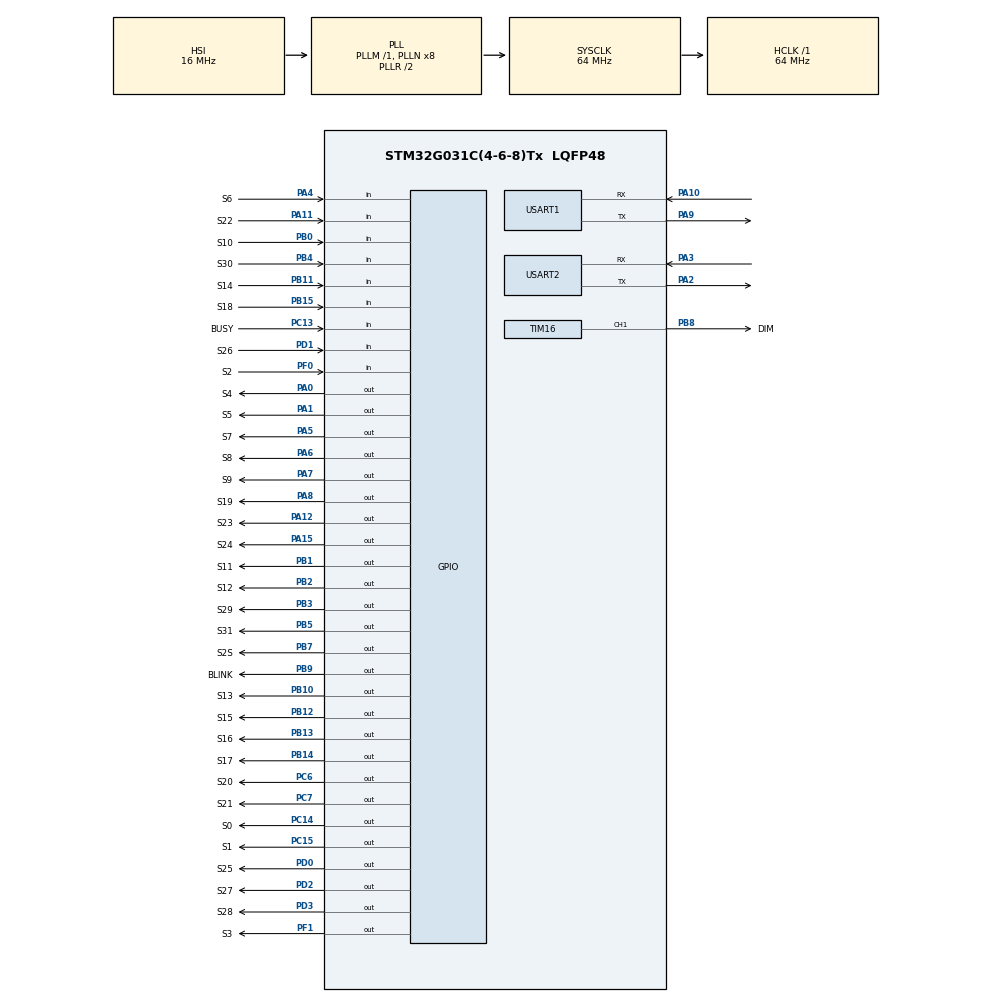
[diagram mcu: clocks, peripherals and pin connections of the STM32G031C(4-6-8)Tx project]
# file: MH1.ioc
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Mcu.Family=STM32G0
Mcu.Name=STM32G031C(4-6-8)Tx
Mcu.Package=LQFP48
NVIC.TIM3_IRQn=true\:0\:0\:false\:false\:true\:true\:true\:true
NVIC.USART1_IRQn=true\:0\:0\:false\:false\:true\:true\:true\:true
NVIC.USART2_IRQn=true\:0\:0\:false\:false\:true\:true\:true\:true
PA0.GPIO_Label=S4
PA0.PinState=GPIO_PIN_SET
PA0.Signal=GPIO_Output
PA1.GPIO_Label=S5
PA1.Signal=GPIO_Output
PA10.Mode=Asynchronous
PA10.Signal=USART1_RX
PA11\ [PA9].GPIO_Label=S22
PA11\ [PA9].GPIO_PuPd=GPIO_PULLUP
PA11\ [PA9].Signal=GPIO_Input
PA12\ [PA10].GPIO_Label=S23
PA12\ [PA10].Signal=GPIO_Output
PA15.GPIO_Label=S24
PA15.PinState=GPIO_PIN_SET
PA15.Signal=GPIO_Output
PA2.Mode=Asynchronous
PA2.Signal=USART2_TX
PA3.GPIO_PuPd=GPIO_PULLUP
PA3.Mode=Asynchronous
PA3.Signal=USART2_RX
PA4.GPIO_Label=S6
PA4.GPIO_PuPd=GPIO_PULLUP
PA4.Signal=GPIO_Input
PA5.GPIO_Label=S7
PA5.Signal=GPIO_Output
PA6.GPIO_Label=S8
PA6.PinState=GPIO_PIN_SET
PA6.Signal=GPIO_Output
PA7.GPIO_Label=S9
PA7.Signal=GPIO_Output
PA8.GPIO_Label=S19
PA8.Signal=GPIO_Output
PA9.Mode=Asynchronous
PA9.Signal=USART1_TX
PB0.GPIO_Label=S10
PB0.GPIO_PuPd=GPIO_PULLUP
PB0.Signal=GPIO_Input
PB1.GPIO_Label=S11
PB1.Signal=GPIO_Output
PB10.GPIO_Label=S13
PB10.Signal=GPIO_Output
PB11.GPIO_Label=S14
PB11.GPIO_PuPd=GPIO_PULLUP
PB11.Signal=GPIO_Input
PB12.GPIO_Label=S15
PB12.Signal=GPIO_Output
PB13.GPIO_Label=S16
PB13.PinState=GPIO_PIN_SET
PB13.Signal=GPIO_Output
PB14.GPIO_Label=S17
PB14.Signal=GPIO_Output
PB15.GPIO_Label=S18
PB15.GPIO_PuPd=GPIO_PULLUP
PB15.Signal=GPIO_Input
PB2.GPIO_Label=S12
PB2.PinState=GPIO_PIN_SET
PB2.Signal=GPIO_Output
PB3.GPIO_Label=S29
PB3.Signal=GPIO_Output
PB4.GPIO_Label=S30
PB4.GPIO_PuPd=GPIO_PULLUP
PB4.Signal=GPIO_Input
PB5.GPIO_Label=S31
PB5.Signal=GPIO_Output
PB7.GPIO_Label=S2S
PB7.PinState=GPIO_PIN_SET
PB7.Signal=GPIO_Output
PB8.GPIO_Label=DIM
PB8.Signal=S_TIM16_CH1
PB9.GPIO_Label=BLINK
PB9.PinState=GPIO_PIN_SET
PB9.Signal=GPIO_Output
PC13.GPIO_Label=BUSY
PC13.GPIO_PuPd=GPIO_PULLUP
PC13.Signal=GPIO_Input
PC14-OSC32_IN\ (PC14).GPIO_Label=S0
PC14-OSC32_IN\ (PC14).PinState=GPIO_PIN_SET
PC14-OSC32_IN\ (PC14).Signal=GPIO_Output
PC15-OSC32_OUT\ (PC15).GPIO_Label=S1
PC15-OSC32_OUT\ (PC15).Signal=GPIO_Output
PC6.GPIO_Label=S20
PC6.PinState=GPIO_PIN_SET
PC6.Signal=GPIO_Output
PC7.GPIO_Label=S21
PC7.Signal=GPIO_Output
PD0.GPIO_Label=S25
PD0.Signal=GPIO_Output
PD1.GPIO_Label=S26
PD1.GPIO_PuPd=GPIO_PULLUP
PD1.Signal=GPIO_Input
PD2.GPIO_Label=S27
PD2.Signal=GPIO_Output
PD3.GPIO_Label=S28
PD3.PinState=GPIO_PIN_SET
PD3.Signal=GPIO_Output
PF0-OSC_IN\ (PF0).GPIO_Label=S2
PF0-OSC_IN\ (PF0).GPIO_PuPd=GPIO_PULLUP
PF0-OSC_IN\ (PF0).Signal=GPIO_Input
PF1-OSC_OUT\ (PF1).GPIO_Label=S3
PF1-OSC_OUT\ (PF1).Signal=GPIO_Output
ProjectManager.HeapSize=0x200
ProjectManager.StackSize=0x400
ProjectManager.TargetToolchain=STM32CubeIDE
RCC.ADCFreq_Value=64000000
RCC.AHBFreq_Value=64000000
RCC.CortexFreq_Value=64000000
RCC.EXTERNAL_CLOCK_VALUE=12288000
RCC.HCLKFreq_Value=64000000
RCC.HSE_VALUE=8000000
RCC.HSI_VALUE=16000000
RCC.LSE_VALUE=32768
RCC.SYSCLKFreq_VALUE=64000000
RCC.SYSCLKSource=RCC_SYSCLKSOURCE_PLLCLK
RCC.VCOOutputFreq_Value=128000000
SH.S_TIM16_CH1.0=TIM16_CH1,PWM Generation1 CH1
TIM16.AutoReloadPreload=TIM_AUTORELOAD_PRELOAD_ENABLE
TIM16.Channel=TIM_CHANNEL_1
TIM16.OC1Preload_PWM=ENABLE
TIM16.Period=2560
TIM16.Pulse=25
TIM3.AutoReloadPreload=TIM_AUTORELOAD_PRELOAD_ENABLE
TIM3.ClockDivision=TIM_CLOCKDIVISION_DIV1
TIM3.Prescaler=61
USART1.FIFOMode=FIFOMODE_ENABLE
USART1.Parity=PARITY_NONE
USART1.VirtualMode-Asynchronous=VM_ASYNC
USART2.Parity=PARITY_NONE
USART2.VirtualMode-Asynchronous=VM_ASYNC
USART2.WordLength=WORDLENGTH_8B
VP_TIM16_VS_ClockSourceINT.Mode=Enable_Timer
VP_TIM3_VS_ClockSourceINT.Mode=Internal
board=custom

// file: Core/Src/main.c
/* USER CODE BEGIN Header */
/**
 ******************************************************************************
 * @file           : main.c
 * @brief          : Main program body
 ******************************************************************************
 * @attention
 *
 * Copyright (c) 2021 STMicroelectronics.
 * All rights reserved.
 *
 * This software component is licensed by ST under BSD 3-Clause license,
 * the "License"; You may not use this file except in compliance with the
 * License. You may obtain a copy of the License at:
 *                        opensource.org/licenses/BSD-3-Clause
 *
 ******************************************************************************
 */

//
// PW NOTES:
// C4 LD file is used, manually upgraded memory size from 16K to 64K,
// C8 MCU used on DSP3 proto, as more memory required for CubeIDE projects.
// ".myKey" SECTION also added to LD file, for security key.
//
// MH1 code, for DSP3 architecture
/* USER CODE END Header */
#include "main.h"

TIM_HandleTypeDef htim3;
TIM_HandleTypeDef htim16;

UART_HandleTypeDef huart1;
UART_HandleTypeDef huart2;

/* USER CODE BEGIN PV */
char flashData[13] = { 0x00 };
char flashCheck[13] = { 0xff, 0x00, 0x00, 0x00, 0x00, 0x00, 0x00, 0x00, 0x00,
		0x00, 0x00, 0x00, 0x00 };
char flashString[3] = "  ";
char flashKey[13] = { 0x00, 0x92, 0xf8, 0xcf, 0x6b, 0x43, 0xe9, 0x74, 0x10,
		0xf0, 0x50, 0xb6, 0xe4 };
char blink = 0, blinkReady = 0;
char matrixFill = 0; // flag to signal complete matrix data load, stop other processes
char printHostMenu = 1; // flag to reprint host init menu
char myChar = ' ', myByte = 0; // general purpose character and byte
char myRXstring[100] = { 0 }; // general purpose RX string
char myTXstring[100] = { 0 }; // general purpose TX string
char myVstring[100] = { 0 }; // general purpose V string for verification

char debugFlag = 0;
char hostMessage[100] = { 0 }; // buffer for host string messages
char hostMessageReady = 0; // host message ready flag
char hostMessageRequested = 0; // host message has been requested from M
char sMessage[100] = { 0 }; // buffer for S mcu string messages
char sMessageReady = 0; // S message ready flag
//char hFound = 0;
char myHString[5];
char sPresent = 0; // slave device is present and responsive
char eor = 0; // generic end of record flag
char flashUpdateError = 0; // mcu flash update error flag
char myHS = 0x00; // HS address
char myHSerased = 0x00; // HS address of last erased device, used to prevent erasing large memory devices more than once
char x_add[2] = { 0 }; // flash extended address, msb, lsb
char rat = 16; // PANEL_DIM level index 0 (brightest) .. 31 (dimmest); 16 = 204/2561 = 8.0 %
unsigned char serData;
volatile unsigned char serPtr;
int myH;
int myMcuPtr;
int i; // general purpose index
int error = 0; // generic error flag
// PANEL_DIM duty table, TIM16 period 2560: index 0 = 100 %, 31 = 0.74 % (the rev B-era DimSet table)
const int DIM[] = {
	2560, 2185, 1865, 1593, 1360, 1161, 991, 847,
	723,  617,  527,  450,  384,  328,  280, 239,
	204,  174,  149,  127,  108,   93,   79,  68,
	 58,   49,   42,   36,   31,   26,   22,   19
};
#define DIM_LEVELS ((int)(sizeof(DIM) / sizeof(DIM[0])))

/*
 const char __attribute__((section (".myKey"))) flashSerial[13] = { 0xaa, 0xff,
 0xff, 0xff, 0xff, 0xff, 0xff, 0xff, 0xff, 0xff, 0xff, 0xff, 0xff };
 */

const char HEX[] = { '0', '1', '2', '3', '4', '5', '6', '7', '8', '9', 'a', 'b',
		'c', 'd', 'e', 'f' };
// addresses of all S mcu in system
const char mcuList[] = { 0x11, 0x12, 0x13, 0x14, 0x15, 0x16, 0x17, 0x18 };
// list of all system PCBs by number and description,
// note this causes compiler suspicion when declared const
/*
 const char *pcbName[] = { "M&W D24 DSP4     MCU",
 "M&W D24 DSP4     LOGIC",
 "M&W D24 SW RIGHT MCU",
 "M&W D24 SW LEFT  MCU",
 "Spare            MCU",
 "Spare            MCU",
 "Spare            MCU",
 "Spare            MCU",};
 */
const char *pcbName[] = { "PCB1: MW D24 DSP4         MCU H",
		"PCB1: MW D24 DSP4 LOGIC   MCU H", "PCB2: MW D24 SW RIGHT     MCU H",
		"PCB3: MW D24 SW LEFT      MCU H", "PCB0: Spare               MCU H",
		"PCB0: Spare               MCU H", "PCB0: Spare               MCU H",
		"PCB0: Spare               MCU H", };
const char NIBBLE[128] = { // for fast conversion of ascii to hex
		0x00, 0x00, 0x00, 0x00, 0x00, 0x00, 0x00, 0x00, 0x00, 0x00, 0x00, 0x00,
				0x00, 0x00, 0x00, 0x00, 0x00, 0x00, 0x00, 0x00, 0x00, 0x00,
				0x00, 0x00, 0x00, 0x00, 0x00, 0x00, 0x00, 0x00, 0x00, 0x00,
				0x00, 0x00, 0x00, 0x00, 0x00, 0x00, 0x00, 0x00, 0x00, 0x00,
				0x00, 0x00, 0x00, 0x00, 0x00, 0x00, 0x00, 0x01, 0x02, 0x03,
				0x04, 0x05, 0x06, 0x07, 0x08, 0x09, 0x00, 0x00, 0x00, 0x00,
				0x00, 0x00, 0x00, 0x0a, 0x0b, 0x0c, 0x0d, 0x0e, 0x0f, 0x00,
				0x00, 0x00, 0x00, 0x00, 0x00, 0x00, 0x00, 0x00, 0x00, 0x00,
				0x00, 0x00, 0x00, 0x00, 0x00, 0x00, 0x00, 0x00, 0x00, 0x00,
				0x00, 0x00, 0x00, 0x00, 0x00, 0x0a, 0x0b, 0x0c, 0x0d, 0x0e,
				0x0f, 0x00, 0x00, 0x00, 0x00, 0x00, 0x00, 0x00, 0x00, 0x00,
				0x00, 0x00, 0x00, 0x00, 0x00, 0x00, 0x00, 0x00, 0x00, 0x00,
				0x00, 0x00, 0x00, 0x00, 0x00, 0x00 };

/* USER CODE END PV */

void SystemClock_Config(void);
static void MX_GPIO_Init(void);
static void MX_TIM16_Init(void);
static void MX_USART1_UART_Init(void);
static void MX_USART2_UART_Init(void);
static void MX_TIM3_Init(void);
/* USER CODE BEGIN PFP */
void SB1(void);
void SB2(void);
void SB3(void);
void SB4(void);
void SB5(void);
void SB6(void);
void SB7(void);
void SB8(void);

void UART1_Write_Text(char *text);
void UART1_Write(char textChar);
char UART1_Read(void);
char UART2_Read(void);

void TxS(char myChar);
void TxSmessage(void);
void TxHostMessage(void);
void TxString(char numBytes);

void ResetAllSlaves(void);
void Delay_ms(int ms);
int WaitForSlaveAck(unsigned long timeoutFlag);
void EraseFlash(void);

void Debug(void);
/* USER CODE END PFP */

/* USER CODE BEGIN 0 */
// VECTOR
void (*S_Boot[])(void) = {
	SB1, SB2, SB3, SB4, SB5, SB6, SB7, SB8 };

void GetUID(void) {
	//unsigned long *temp = 0x1fff7a10; // for STM32F401RE
	//unsigned long *temp = 0x1ffff7ac; // for STM32F030R8
	long unsigned int *temp = (long unsigned int*)0x1fff7590UL; // for STM32G031C4T6
	flashData[1] = temp[0] & 0xff;
	flashData[2] = temp[0] >> 8 & 0xff;
	flashData[3] = temp[0] >> 16 & 0xff;
	flashData[4] = temp[0] >> 24 & 0xff;
	flashData[5] = temp[1] & 0xff;
	flashData[6] = temp[1] >> 8 & 0xff;
	flashData[7] = temp[1] >> 16 & 0xff;
	flashData[8] = temp[1] >> 24 & 0xff;
	flashData[9] = temp[2] & 0xff;
	flashData[10] = temp[2] >> 8 & 0xff;
	flashData[11] = temp[2] >> 16 & 0xff;
	flashData[12] = temp[2] >> 24 & 0xff;
}

//void Encrypt(void) {for (i = 1; i < sizeof flashSerial; i++) {flashSerial[i] =  flashData[i] ^ 85 ^ flashKey[i] ^ flashSerial[i - 1];}} // untested
/*
 void Decrypt(void) {
 int i;
 for (i = 1; i < sizeof flashCheck; i++) {
 flashCheck[i] = flashSerial[i] ^ flashSerial[i - 1] ^ flashKey[i] ^ 85;
 }
 }
 */
void SerialCheck(void) {
	int i;
	for (i = 1; i < sizeof flashData; i++) {
		if (flashData[i] != flashCheck[i]) {
			while (1) {
			}
		}
	}
}

void Blink(void) {
	if (blinkReady) {
		if (blink == 0x4) { // blink LEDs on
							//Led0Green();
			HAL_GPIO_WritePin(GPIOB, BLINK_Pin, GPIO_PIN_SET);
			UART1_Write(S_BLINK_ON);
			UART1_Write(0x0a);
			TxS(S_BLINK_ON);
			TxS(0x0a);
		} else if (blink == 0x0) { // blink LEDs off
								   //Led0Off();
			HAL_GPIO_WritePin(GPIOB, BLINK_Pin, GPIO_PIN_RESET);
			UART1_Write(S_BLINK_OFF);
			UART1_Write(0x0a);
			TxS(S_BLINK_OFF);
			TxS(0x0a);
		} else { // send 100mS tick for bargraph ballistics etc.
				 //UART1_Write(S_TICK); UART1_Write(0x0a);
				 //TxS(S_TICK); //TxS(0x0a);
		}
		blinkReady = 0;
	}
}

void UART1_Write_Text(char *textString) {
	int i = 0;
	char hex[4] = { 0 };
	while (textString[i] != 0)
		i++;
	HAL_UART_Transmit(&huart1, textString, i, 1000);
}

void UART1_Write(char textChar) {
	char textString[1];
	textString[0] = textChar;
	HAL_UART_Transmit(&huart1, textString, 1, 1000);
}

char UART1_Read(void) {
	char myChar[1] = " ";
	HAL_UART_Receive(&huart1, myChar, 1, 100);
	return myChar[0];
}

char UART1_Data_Ready(void) {
	if (__HAL_UART_GET_FLAG(&huart1, UART_FLAG_RXNE) == SET)
		return 1;
	else
		return 0;
}

char UART1_Tx_Idle(void) {
	return __HAL_UART_GET_FLAG(&huart1, UART_FLAG_IDLE);
}

void UART2_Write_Text(char *textString) {
	int i = 0;
	char hex[4] = { 0 };
	while (textString[i] != 0)
		i++;
	HAL_UART_Transmit(&huart2, textString, i, 1000);
}

void UART2_Write(char textChar) {
	char textString[1];
	textString[0] = textChar;
	HAL_UART_Transmit(&huart2, textString, 1, 1000);
}

char UART2_Read(void) {
	char myChar[1] = " ";
	HAL_UART_Receive(&huart2, myChar, 1, 100);
	return myChar[0];
}

char UART2_Data_Ready(void) {
	if (__HAL_UART_GET_FLAG(&huart2, UART_FLAG_RXNE) == SET)
		return 1;
	else
		return 0;
}

char UART2_Tx_Idle(void) {
	return __HAL_UART_GET_FLAG(&huart2, UART_FLAG_IDLE);
}

void IntToHex(int input, char *output) {
	output[0] = HEX[(input & 0xf000) >> 12];
	output[1] = HEX[(input & 0xf00) >> 8];
	output[2] = HEX[(input & 0xf0) >> 4];
	output[3] = HEX[input & 0xf];
}

void PrintNameSerial(void) {
	UART1_Write_Text("\n// Product Name   : ");
	UART1_Write_Text(PROJECT_NAME);
	UART1_Write('\n');
	UART1_Write_Text("// MCU MH1 FW rev : ");
	UART1_Write_Text(M_FW_REV);
	//UART1_Write('\n');
	//UART1_Write_Text("// Valid Serial   : "); // ***TESTING ONLY*** remove from release version

	/*
	 for (i = 1; i < sizeof flashSerial; i++) {
	 sprintf(flashString, "%02x", flashSerial[i]);
	 UART1_Write_Text(flashString);

	 }
	 */
	UART1_Write('\n');
}

void WaitForHostMessage(void) {
	i = 0;
	myChar = 0x00;
	while (myChar != 0x0a) {
		if (UART1_Data_Ready() == 1) {
			// wait for host new character
			myChar = UART1_Read(); // read new character
			myRXstring[i] = myChar; // put character into string buffer
			i++; // increment pointer
			__HAL_UART_CLEAR_FLAG(&huart1, UART_FLAG_RXNE);
		}
	}
}

void McuScan(void) { // scan all mcu to see if present in system
	UART2_Read(); // to flush buffer
	UART1_Write_Text("\n// scanning hardware");
	PrintNameSerial();
	for (i = 0; i < sizeof(mcuList); i++) {
		myMcuPtr = mcuList[i];
		myH = (myMcuPtr & 0xf0) >> 4;
		IntToHex(myMcuPtr, myHString);
		ResetAllSlaves();
		Delay_ms(10); // reset all mcu
		//select S MCU and send test byte
		S_Boot[i]();
		Delay_ms(100); // wait for S MCU to settle in boot mode
		//TxS(0x7f);
		// clear data received flag
		__HAL_UART_CLEAR_FLAG(&huart2, UART_FLAG_RXNE);
		UART2_Write(0x7f);
		// report back S MCU status
		error = WaitForSlaveAck(TIMEOUT100MS);
		switch (error) {
		case 0:
			UART1_Write_Text("// found      ");
			break;
		case 1:
			UART1_Write_Text("// MISSING!!! ");
			break;
		case 2:
			UART1_Write_Text("// error      ");
			break;
		}
		//UART1_Write_Text(pcbName[myH - 1]);
		UART1_Write_Text(pcbName[i]);
		UART1_Write(myHString[2]);
		UART1_Write('S');
		UART1_Write(myHString[3]);
		UART1_Write_Text("\n");
	}
	ResetAllSlaves();
	Delay_ms(10); // reset all mcu
	UART1_Write_Text("// hardware scan complete\n");
}

void SB1(void) {
	HAL_GPIO_WritePin(GPIOC, S1_Pin, GPIO_PIN_SET);
	HAL_GPIO_WritePin(GPIOC, S0_Pin, GPIO_PIN_RESET);
	Delay_ms(1);
	HAL_GPIO_WritePin(GPIOC, S0_Pin, GPIO_PIN_SET);
	//S2M_O = 1;
}

void SB2(void) {
	HAL_GPIO_WritePin(GPIOA, S5_Pin, GPIO_PIN_SET);
	HAL_GPIO_WritePin(GPIOA, S4_Pin, GPIO_PIN_RESET);
	Delay_ms(1);
	HAL_GPIO_WritePin(GPIOA, S4_Pin, GPIO_PIN_SET);
	//S2M_O = 1;
}

void SB3(void) {
	HAL_GPIO_WritePin(GPIOA, S9_Pin, GPIO_PIN_SET);
	HAL_GPIO_WritePin(GPIOA, S8_Pin, GPIO_PIN_RESET);
	Delay_ms(1);
	HAL_GPIO_WritePin(GPIOA, S8_Pin, GPIO_PIN_SET);
	//S2M_O = 1;
}

void SB4(void) {
	HAL_GPIO_WritePin(GPIOB, S13_Pin, GPIO_PIN_SET);
	HAL_GPIO_WritePin(GPIOB, S12_Pin, GPIO_PIN_RESET);
	Delay_ms(1);
	HAL_GPIO_WritePin(GPIOB, S12_Pin, GPIO_PIN_SET);
	//S2M_O = 1;
}

void SB5(void) {
	HAL_GPIO_WritePin(GPIOB, S17_Pin, GPIO_PIN_SET);
	HAL_GPIO_WritePin(GPIOB, S16_Pin, GPIO_PIN_RESET);
	Delay_ms(1);	//S16_O = 1;
	HAL_GPIO_WritePin(GPIOB, S16_Pin, GPIO_PIN_SET);
	//S2M_O = 1;
}

void SB6(void) {
	HAL_GPIO_WritePin(GPIOC, S21_Pin, GPIO_PIN_SET);
	HAL_GPIO_WritePin(GPIOC, S20_Pin, GPIO_PIN_RESET);
	Delay_ms(1);
	HAL_GPIO_WritePin(GPIOC, S20_Pin, GPIO_PIN_SET);
	//S2M_O = 1;
}

void SB7(void) {
	HAL_GPIO_WritePin(GPIOD, S25_Pin, GPIO_PIN_SET);
	HAL_GPIO_WritePin(GPIOA, S24_Pin, GPIO_PIN_RESET);
	Delay_ms(1);
	HAL_GPIO_WritePin(GPIOA, S24_Pin, GPIO_PIN_SET);
	//S2M_O = 1;
}

void SB8(void) {
	HAL_GPIO_WritePin(GPIOB, S29_Pin, GPIO_PIN_SET);	//S28_O = 0;
	HAL_GPIO_WritePin(S28_GPIO_Port, S28_Pin, GPIO_PIN_RESET);
	Delay_ms(1);
	HAL_GPIO_WritePin(S28_GPIO_Port, S28_Pin, GPIO_PIN_SET);
	//S2M_O = 1;
}

void Delay_ms(int ms) {
	HAL_Delay(ms);
}

void ResetAllSlaves(void) {
	//S2S_Pin = 0;
	HAL_GPIO_WritePin(GPIOB, S2S_Pin, GPIO_PIN_SET); // this pin must be set for M2S communication
	//S0_Pin = 0; // reset = 0 //S20_Pin = 0;
	HAL_GPIO_WritePin(GPIOC, S0_Pin | S20_Pin, GPIO_PIN_RESET);
	//S4_Pin = 0; //S8_Pin = 0; //S24_Pin = 0;
	HAL_GPIO_WritePin(GPIOA, S4_Pin | S8_Pin | S24_Pin, GPIO_PIN_RESET);
	//S12_Pin = 0; //S16_Pin = 0;
	HAL_GPIO_WritePin(GPIOB, S12_Pin | S16_Pin, GPIO_PIN_RESET);
	//S28_Pin = 0;
	HAL_GPIO_WritePin(S28_GPIO_Port, S28_Pin, GPIO_PIN_RESET);
	//S1_Pin = 0; // boot0 = 0 //S21_Pin = 0;
	HAL_GPIO_WritePin(GPIOC, S1_Pin | S21_Pin, GPIO_PIN_RESET);
	//S5_Pin = 0; //S7_Pin = 0; //S9_Pin = 0; //S19_Pin = 0; //S23_Pin = 0;
	HAL_GPIO_WritePin(GPIOA, S5_Pin | S7_Pin | S9_Pin | S19_Pin | S23_Pin,
			GPIO_PIN_RESET);
	//S11_Pin = 0; //S13_Pin = 0; //S15_Pin = 0; //S17_Pin = 0; //S29_Pin = 0; //S31_Pin = 0;
	HAL_GPIO_WritePin(GPIOB,
	S11_Pin | S13_Pin | S15_Pin | S17_Pin | S29_Pin | S31_Pin, GPIO_PIN_RESET);
	//S3_Pin = 0; // send default 0, 1 = send data
	HAL_GPIO_WritePin(S3_GPIO_Port, S3_Pin, GPIO_PIN_RESET);
	//S25_Pin = 0; //S27_Pin = 0;
	HAL_GPIO_WritePin(GPIOD, S25_Pin | S27_Pin, GPIO_PIN_RESET);
}

int WaitForSlaveAck(unsigned long timeoutFlag) {
	//timeoutFlag = TIMEOUT;
	char retFlag = 1;
	while (timeoutFlag) { // note delete if not working
		if (UART2_Data_Ready() == 1) {
			if (UART2_Read() == 0x79) {
				sPresent = 1;
				return 0;
			} // correct S response
			else {
				sPresent = 0;
				//return 2;
				retFlag = 2;
			}
		} // S response error

		timeoutFlag--; // maybe needs revision? use timer?

	}
	//Led1Red(); // hardware error flag
	sPresent = 0;
	//return 1; // no S response
	return retFlag;
}

int WaitForEraseAck(unsigned long timeoutFlag) {
	//timeoutFlag = TIMEOUT;
	char retFlag = 1;
	while (timeoutFlag) { // note delete if not working
		if (UART2_Data_Ready() == 1) {
			if (UART2_Read() == 0x79) {
				sPresent = 1;
				return 0;
			} // correct S response
			else {
				sPresent = 0;
				//return 2;
				retFlag = 2;
			}
		} // S response error

		//timeoutFlag--; // maybe needs revision? use timer?

	}
	//Led1Red(); // hardware error flag
	sPresent = 0;
	//return 1; // no S response
	return retFlag;
}

char GetCharHexByte(char mschar, char lschar) {
	return (NIBBLE[mschar] << 4) + NIBBLE[lschar];
}

void UpdateFirmware(void) {
	error = 0;
	eor = 0;
	while (!eor) {
		UART1_Write(S_FLASH);
		UART1_Write(0x0a); // request new firmware record from host
		WaitForHostMessage(); // wait for complete record received from host
		// get firmware record type
		if (myRXstring[0] == ':') {
			myByte = GetCharHexByte(myRXstring[7], myRXstring[8]);
		} else {
			break;
		}
		switch (myByte) {
		case 0x00:
			//UART1_Write_Text("// flash data record\n");
			if (sPresent) { // firmware data record
				int chkSum = 0;
				TxS(0x31);
				TxS(0xce); //UART1_Write_Text("// write memory command\n");
				error += WaitForSlaveAck(TIMEOUTR);
				myTXstring[0] = x_add[0];
				myTXstring[1] = x_add[1]; // get extended flash address
				myTXstring[2] = GetCharHexByte(myRXstring[3], myRXstring[4]);
				myTXstring[3] = GetCharHexByte(myRXstring[5], myRXstring[6]); // get flash record address
				myTXstring[4] = myTXstring[0] ^ myTXstring[1] ^ myTXstring[2]
						^ myTXstring[3]; // get xor checksum
				TxString(5); // send write address to slave
				error = WaitForSlaveAck(TIMEOUTR);

				/*				// original code for 16 byte chunks
				 myTXstring[0] = 15; // number of data bytes -1
				 myTXstring[1] = GetCharHexByte(myRXstring[9], myRXstring[10]);
				 myTXstring[2] = GetCharHexByte(myRXstring[11], myRXstring[12]);
				 myTXstring[3] = GetCharHexByte(myRXstring[13], myRXstring[14]);
				 myTXstring[4] = GetCharHexByte(myRXstring[15], myRXstring[16]);
				 myTXstring[5] = GetCharHexByte(myRXstring[17], myRXstring[18]);
				 myTXstring[6] = GetCharHexByte(myRXstring[19], myRXstring[20]);
				 myTXstring[7] = GetCharHexByte(myRXstring[21], myRXstring[22]);
				 myTXstring[8] = GetCharHexByte(myRXstring[23], myRXstring[24]);
				 myTXstring[9] = GetCharHexByte(myRXstring[25], myRXstring[26]);
				 myTXstring[10] = GetCharHexByte(myRXstring[27], myRXstring[28]);
				 myTXstring[11] = GetCharHexByte(myRXstring[29], myRXstring[30]);
				 myTXstring[12] = GetCharHexByte(myRXstring[31], myRXstring[32]);
				 myTXstring[13] = GetCharHexByte(myRXstring[33], myRXstring[34]);
				 myTXstring[14] = GetCharHexByte(myRXstring[35], myRXstring[36]);
				 myTXstring[15] = GetCharHexByte(myRXstring[37], myRXstring[38]);
				 myTXstring[16] = GetCharHexByte(myRXstring[39], myRXstring[40]);
				 myTXstring[17] = myTXstring[0] ^ myTXstring[1] ^ myTXstring[2]
				 ^ myTXstring[3] ^ myTXstring[4] ^ myTXstring[5]
				 ^ myTXstring[6] ^ myTXstring[7] ^ myTXstring[8]
				 ^ myTXstring[9] ^ myTXstring[10] ^ myTXstring[11]
				 ^ myTXstring[12] ^ myTXstring[13] ^ myTXstring[14]
				 ^ myTXstring[15] ^ myTXstring[16];
				 TxString(18); // send data to slave
				 */
				// modify to allow for less than 16 byte chunks...
				myTXstring[0] = GetCharHexByte(myRXstring[1], myRXstring[2])
						- 1; // number of data bytes -1
				for (int numBytes = 0; numBytes < myTXstring[0] * 2 + 1;
						numBytes += 2) {
					myTXstring[1 + numBytes / 2] = GetCharHexByte(
							myRXstring[9 + numBytes],
							myRXstring[10 + numBytes]);
				}
				chkSum = myTXstring[0];
				for (int numBytes = 0; numBytes < myTXstring[0] + 1;
						numBytes++) {
					chkSum ^= myTXstring[1 + numBytes];
				}
				myTXstring[myTXstring[0] + 2] = chkSum;
				TxString(myTXstring[0] + 3); // send data to slave

				//UART1_Write_Text("// data record sent\n");

				error = WaitForSlaveAck(TIMEOUTR);

				/*
				 if (!error) {
				 UART1_Write_Text("// verifying data\n");
				 char verified = 1;
				 // read data from flash
				 TxS(0x11);
				 TxS(0xee); //UART1_Write_Text("// read memory command\n");
				 WaitForSlaveAck(TIMEOUTR);
				 UART1_Write_Text("// read memory request\n");

				 myTXstring[0] = x_add[0];
				 myTXstring[1] = x_add[1]; // get extended flash address
				 myTXstring[2] = GetCharHexByte(myRXstring[3],
				 myRXstring[4]);
				 myTXstring[3] = GetCharHexByte(myRXstring[5],
				 myRXstring[6]); // get flash record address
				 myTXstring[4] = myTXstring[0] ^ myTXstring[1]
				 ^ myTXstring[2] ^ myTXstring[3]; // get xor checksum
				 TxString(5); // send read address to slave

				 if (!WaitForSlaveAck(TIMEOUTR)) {
				 UART1_Write_Text("// sent read address\n");
				 }

				 myTXstring[0] = GetCharHexByte(myRXstring[1], myRXstring[2])
				 - 1; // number of data bytes -1
				 myTXstring[1] = myTXstring[0] ^ 0xff;
				 TxString(2);

				 if (!WaitForSlaveAck(TIMEOUTR)) {
				 UART1_Write_Text("// requested number of bytes\n");

				 // read and verify data
				 for (int numBytes = 0; numBytes < myTXstring[0] * 2 + 1;
				 numBytes += 2) {
				 long timeoutFlag = 0xfffff;
				 while (timeoutFlag) { // note delete if not working
				 if (UART2_Data_Ready() == 1) {
				 if (UART2_Read()
				 != GetCharHexByte(
				 myRXstring[9 + numBytes],
				 myRXstring[10 + numBytes])) {
				 verified = 0;
				 timeoutFlag = 0;
				 } // S response error
				 else {UART1_Write_Text(printf("// %X\n",GetCharHexByte));}
				 }
				 timeoutFlag--; // maybe needs revision? use timer?
				 if (timeoutFlag == 0)
				 verified = 0;
				 }
				 }
				 }

				 UART1_Write_Text("// got the data\n");

				 }
				 */
				if (error == 0) {
					UART1_Write_Text("// flash update success\n");
				} else {
					UART1_Write_Text("//  flash update error\n");
					flashUpdateError = 1;
				}

			}
			//}
			break;
		case 0x04:
			sPresent = 1; // extended address record
			UART1_Write_Text("// flash extended address record\n");
			x_add[0] = GetCharHexByte(myRXstring[9], myRXstring[10]); // store flash extended address msb
			x_add[1] = GetCharHexByte(myRXstring[11], myRXstring[12]); // store flash extended address lsb
			myHS = GetCharHexByte(myRXstring[4], myRXstring[6]); // store HnSn address
			if (myHSerased != myHS) // if HnSn has changed then reset MCU and erase flash, else continue writing extended memory
					{

				//TxH(P_INIT);
				ResetAllSlaves();
				Delay_ms(10); // reset all mcu

				//TxH(myHS);
				S_Boot[(myHS & 0xf) - 1](); // select S MCU into boot mode
				Delay_ms(100); // send mcu id and wait for response - 100mS for larger MCU bootloader startup times

				//UART1_Write_Text("// erasing flash\n");
				EraseFlash();
			}
			myHSerased = myHS;
			break;
		case 0x01:
			UART1_Write_Text("// flash end of firmware record\n"); // firmware record end
			if (!flashUpdateError) {
				UART1_Write_Text(
						"// all connected mcu flash updates successful\n");
				//Led1Off();
			} else {
				UART1_Write_Text(
						"// all connected mcu firmware updates NOT successful!!!\n");
				//Led1Red();
			}
			eor = 1;
			//TxH(P_INIT);
			ResetAllSlaves();
			Delay_ms(10); // reset all mcu
			break;
		default:
			UART1_Write_Text("// break\n");
			break;
		}
	}
}

void EraseFlash(void) {
	TxS(0x7f); // send 0x7f to slave MCU to initiate bootloader code sequence
	if (WaitForEraseAck(TIMEOUTR))
		return; // return if slave response error
	//UART1_Write_Text("// init MCU bootloader\n");
	TxS(0x44);
	TxS(0xbb); // erase flash
	if (WaitForEraseAck(TIMEOUTR))
		return; // return if slave response error
	//UART1_Write_Text("// prepare MCU erase\n");
	TxS(0xff);
	TxS(0xff);
	TxS(0x00); // erase all memory
	if (WaitForEraseAck(TIMEOUTR))
		return; // return if slave response error
	//UART1_Write_Text("// flash erased\n");
}

void WaitForNotBusy() {
	//while (!BUSY_Pin) {
	while (!HAL_GPIO_ReadPin(BUSY_GPIO_Port, BUSY_Pin)) {
	}
}

void CheckS(void) {
	// set S2S mode, S2S_pin = 0
	HAL_GPIO_WritePin(GPIOB, S2S_Pin, GPIO_PIN_RESET);
	if (sMessageReady) {
		TxSmessage();
	} // if S has sent message, forward it to host
	if (!HAL_GPIO_ReadPin(S2_GPIO_Port, S2_Pin)) {
		WaitForNotBusy();
		HAL_GPIO_WritePin(GPIOF, S3_Pin, GPIO_PIN_SET);
		while (!HAL_GPIO_ReadPin(S2_GPIO_Port, S2_Pin)) {
		} // wait for S to finish sending data
		HAL_GPIO_WritePin(GPIOF, S3_Pin, GPIO_PIN_RESET);
		WaitForNotBusy();
	}
//	if (sMessageReady) {
//		TxSmessage();
//	} // if S has sent message, forward it to host
	if (!HAL_GPIO_ReadPin(GPIOA, S6_Pin)) {
		WaitForNotBusy();
		HAL_GPIO_WritePin(GPIOA, S7_Pin, GPIO_PIN_SET);
		while (!HAL_GPIO_ReadPin(GPIOA, S6_Pin)) {
		} // wait for S to finish sending data
		HAL_GPIO_WritePin(GPIOA, S7_Pin, GPIO_PIN_RESET);
		WaitForNotBusy();
	}
//	if (sMessageReady) {
//		TxSmessage();
//	} // if S has sent message, forward it to host
	if (!HAL_GPIO_ReadPin(GPIOB, S10_Pin)) {
		WaitForNotBusy();
		HAL_GPIO_WritePin(GPIOB, S11_Pin, GPIO_PIN_SET);
		while (!HAL_GPIO_ReadPin(GPIOB, S10_Pin)) {
		} // wait for S to finish sending data
		HAL_GPIO_WritePin(GPIOB, S11_Pin, GPIO_PIN_RESET);
		WaitForNotBusy();
	}
//	if (sMessageReady) {
//		TxSmessage();
//	} // if S has sent message, forward it to host
	if (!HAL_GPIO_ReadPin(GPIOB, S14_Pin)) {
		WaitForNotBusy();
		HAL_GPIO_WritePin(GPIOB, S15_Pin, GPIO_PIN_SET);
		while (!HAL_GPIO_ReadPin(GPIOB, S14_Pin)) {
		} // wait for S to finish sending data
		HAL_GPIO_WritePin(GPIOB, S15_Pin, GPIO_PIN_RESET);
		WaitForNotBusy();
	}
//	if (sMessageReady) {
//		TxSmessage();
//	} // if S has sent message, forward it to host
	if (!HAL_GPIO_ReadPin(GPIOB, S18_Pin)) {
		WaitForNotBusy();
		HAL_GPIO_WritePin(GPIOA, S19_Pin, GPIO_PIN_SET);
		while (!HAL_GPIO_ReadPin(GPIOB, S18_Pin)) {
		} // wait for S to finish sending data
		HAL_GPIO_WritePin(GPIOA, S19_Pin, GPIO_PIN_RESET);
		WaitForNotBusy();
	}
//	if (sMessageReady) {
//		TxSmessage();
//	} // if S has sent message, forward it to host
	if (!HAL_GPIO_ReadPin(GPIOA, S22_Pin)) {
		WaitForNotBusy();
		HAL_GPIO_WritePin(GPIOA, S23_Pin, GPIO_PIN_SET);
		while (!HAL_GPIO_ReadPin(GPIOA, S22_Pin)) {
		} // wait for S to finish sending data
		HAL_GPIO_WritePin(GPIOA, S23_Pin, GPIO_PIN_RESET);
		WaitForNotBusy();
	}
//	if (sMessageReady) {
//		TxSmessage();
//	} // if S has sent message, forward it to host
	if (!HAL_GPIO_ReadPin(S26_GPIO_Port, S26_Pin)) {
		WaitForNotBusy();
		HAL_GPIO_WritePin(GPIOD, S27_Pin, GPIO_PIN_SET);
		while (!HAL_GPIO_ReadPin(S26_GPIO_Port, S26_Pin)) {
		} // wait for S to finish sending data
		HAL_GPIO_WritePin(GPIOD, S27_Pin, GPIO_PIN_RESET);
		WaitForNotBusy();
	}
//	if (sMessageReady) {
//		TxSmessage();
//	} // if S has sent message, forward it to host
	if (!HAL_GPIO_ReadPin(GPIOB, S30_Pin)) {
		WaitForNotBusy();
		HAL_GPIO_WritePin(GPIOB, S31_Pin, GPIO_PIN_SET);
		while (!HAL_GPIO_ReadPin(GPIOB, S30_Pin)) {
		} // wait for S to finish sending data
		HAL_GPIO_WritePin(GPIOB, S31_Pin, GPIO_PIN_RESET);
		WaitForNotBusy();
	}
	if (sMessageReady) {
		TxSmessage();
	} // if S has sent message, forward it to host
	  // set M2S mode, S2S_pin = 1
	HAL_GPIO_WritePin(GPIOB, S2S_Pin, GPIO_PIN_SET);

}

void TxString(char numBytes) {
	for (i = 0; i < numBytes; i++) {
		TxS(myTXstring[i]);
	}
} // send bytes to slave

void DimSet(unsigned char level);

static int HexNibble(char c) {
	if (c >= '0' && c <= '9') return c - '0';
	if (c >= 'A' && c <= 'F') return c - 'A' + 10;
	if (c >= 'a' && c <= 'f') return c - 'a' + 10;
	return -1;
}

void CheckHost(void) {
	if (hostMessageReady) { // host message ready to send to hardware
		if (hostMessage[0] == S_DIMI) {
			// PANEL_DIM absolute level: '>' + two hex digits (00..1F), newline-terminated,
			// so the level can never collide with the newline or the raw P_DIMI/P_DIMD bytes.
			// Handled here, never forwarded to the slaves.
			int hi = HexNibble(hostMessage[1]), lo = HexNibble(hostMessage[2]);
			if (hi >= 0 && lo >= 0)
				DimSet((unsigned char)((hi << 4) | lo));
			hostMessageReady = 0;
			UART1_Write(S_RUN);
			UART1_Write(0x0a); // request next message from host
			return;
		}
		TxHostMessage(); // send host message to hardware
		while (!UART2_Tx_Idle()) {
		} // wait for buffer to empty before signalling for new data
		UART1_Write(S_RUN);
		UART1_Write(0x0a); // request next message from host
	}
}

void CheckDebug(void) {
	if (debugFlag) {
		Debug();
		debugFlag = 0;
	}
}

void Debug(void) {
}

void DimSet(unsigned char level) {
	if (level >= DIM_LEVELS)
		level = DIM_LEVELS - 1;
	rat = level;
	TIM16->CCR1 = DIM[rat];
}

void DimI(void) {
	if (rat < DIM_LEVELS - 1)
		rat++;
	//PWM_TIM3_Set_Duty(ratio/(DIM[rat]), _PWM_NON_INVERTED, _PWM_CHANNEL2); // set dim duty cycle
	TIM16->CCR1 = DIM[rat];
}
void DimD(void) {
	if (rat > 0)
		rat--;
	//PWM_TIM3_Set_Duty(ratio/(DIM[rat]), _PWM_NON_INVERTED, _PWM_CHANNEL2); // set dim duty cycle
	TIM16->CCR1 = DIM[rat];
}

void MatrixFill(void) // rev200523
{
	int mi = 1;
	int matrixSize = 0;
	// disable interrupts
	//RXNEIE_USART1_CR1_bit = 0;
	//NVIC_IntDisable(IVT_INT_USART1);
	__HAL_UART_DISABLE_IT(&huart1, UART_IT_RXNE);
	//DisableInterrupts();
	__disable_irq();
	// transmit matrix fill start token
	TxS(S_FILL_START);
	// get matrix length from host
	while (!UART1_Data_Ready) {
	}
	matrixSize = UART1_Read() << 8;
	while (!UART1_Data_Ready) {
	}
	matrixSize += UART1_Read();
	// loop until matrix fill end
	while (mi <= matrixSize) {
		if (UART1_Data_Ready) {
			myChar = UART1_Read(); // read new character
			TxS(myChar); // send char to bus
			mi++;
		}
	}
	matrixFill = 0;
	// enable interrupts
	//RXNEIE_USART1_CR1_bit = 1;
	//NVIC_IntEnable(IVT_INT_USART1);
	__HAL_UART_ENABLE_IT(&huart1, UART_IT_RXNE);
	//EnableInterrupts();
	__enable_irq();
}

void TxSmessage(void) { // send S message to Host
	myChar = 0;
	int i = 0;
	while (myChar != 0x0a) {
		myChar = sMessage[i];
		i++;
		UART1_Write(myChar);
	}
	sMessageReady = 0;
}

void TxHostMessage(void) {
	myChar = 0;
	int i = 0;
	//if (hostMessage[0] == S_DIMI)
	//	TxH(P_DIMI); // check for H dim inc message
	//else if (hostMessage[0] == S_DIMD)
	//	TxH(P_DIMD); // check for H dim dec message
	if (hostMessage[0] == S_FILL_START)
		matrixFill = 1; // check for matrixFill message
	else {
		while (myChar != 0x0a) { // send Host message to S
			myChar = hostMessage[i];
			i++;
			TxS(myChar);
		}
	}
	hostMessageReady = 0;
}

void TxS(char myChar) {
	UART2_Write(myChar); // send char to bus
	while (!UART2_Tx_Idle()) {
	}
}

void StartAllSlaves(void) {
	//S0_Pin = 1; // S1 reset = 1
	HAL_GPIO_WritePin(GPIOC, S1_Pin, GPIO_PIN_RESET);
	HAL_GPIO_WritePin(GPIOC, S0_Pin, GPIO_PIN_SET);
	//S4_Pin = 1; // S2 reset = 1
	HAL_GPIO_WritePin(GPIOA, S5_Pin, GPIO_PIN_RESET);
	HAL_GPIO_WritePin(GPIOA, S4_Pin, GPIO_PIN_SET);
	//S8_Pin = 1; // S3 reset = 1
	HAL_GPIO_WritePin(GPIOA, S9_Pin, GPIO_PIN_RESET);
	HAL_GPIO_WritePin(GPIOA, S8_Pin, GPIO_PIN_SET);
	//S12_Pin = 1; // S4 reset = 1
	HAL_GPIO_WritePin(GPIOB, S13_Pin, GPIO_PIN_RESET);
	HAL_GPIO_WritePin(GPIOB, S12_Pin, GPIO_PIN_SET);
	//S16_Pin = 1; // S5 reset = 1
	HAL_GPIO_WritePin(GPIOB, S17_Pin, GPIO_PIN_RESET);
	HAL_GPIO_WritePin(GPIOB, S16_Pin, GPIO_PIN_SET);
	//S20_Pin = 1; // S6 reset = 1
	HAL_GPIO_WritePin(GPIOC, S21_Pin, GPIO_PIN_RESET);
	HAL_GPIO_WritePin(GPIOC, S20_Pin, GPIO_PIN_SET);
	//S24_Pin = 1; // S7 reset = 1
	HAL_GPIO_WritePin(GPIOD, S25_Pin, GPIO_PIN_RESET);
	HAL_GPIO_WritePin(GPIOA, S24_Pin, GPIO_PIN_SET);
	//S28_Pin = 1; // S8 reset = 1
	HAL_GPIO_WritePin(GPIOB, S29_Pin, GPIO_PIN_RESET);	//S28_O = 0;
	HAL_GPIO_WritePin(S28_GPIO_Port, S28_Pin, GPIO_PIN_SET);
}

void EchoH1S1(void) {
	ResetAllSlaves();
	//select S MCU and send test byte
	S_Boot[0]();
	Delay_ms(100); // wait for S MCU to settle in boot mode
	// clear data received flag
	__HAL_UART_CLEAR_FLAG(&huart1, UART_FLAG_RXNE);
	__HAL_UART_CLEAR_FLAG(&huart2, UART_FLAG_RXNE);
	//UART2_Write(0x7f);
	// report back S MCU status
	//error = WaitForSlaveAck(TIMEOUT100MS);
	UART1_Write(0x7f);
	while (1) {
		// if RX on UART1, TX to UART2
		if (UART1_Data_Ready()) {
			UART2_Write(UART1_Read());
			while (!UART2_Tx_Idle()) {
			}
		}
		// if RX on UART2, TX to UART1
		if (UART2_Data_Ready()) {
			UART1_Write(UART2_Read());
			while (!UART1_Tx_Idle()) {
			}
		}
	}
}

/* USER CODE END 0 */

int main(void) {
	/* USER CODE BEGIN 1 */

	/* bypass this section for debug
	 // security check
	 GetUID();
	 //Encrypt(); only use for testing
	 Decrypt();
	 SerialCheck();
	 */

	/* USER CODE END 1 */

	/* MCU Configuration--------------------------------------------------------*/

	/* Reset of all peripherals, Initializes the Flash interface and the Systick. */
	HAL_Init();

	/* Configure the system clock */
	SystemClock_Config();

	/* Initialize all configured peripherals */
	MX_GPIO_Init();
	MX_TIM16_Init();
	MX_USART1_UART_Init();
	MX_USART2_UART_Init();
	MX_TIM3_Init();
	/* USER CODE BEGIN 2 */
	ResetAllSlaves();
	///*
	// pre main loop

	while (1) {
		/*
		 if (printHostMenu) {
		 PrintNameSerial();
		 printHostMenu = 0;
		 }
		 */
		WaitForHostMessage();
		if (myRXstring[0] == S_RUN)
			break; // jump to main loop
		else if (myRXstring[0] == S_SCAN) {
			McuScan();
		} // scan hardware
		else if (myRXstring[0] == S_FLASH) {
			UpdateFirmware();
		} // update firmware
		else if (myRXstring[0] == '@') {
			EchoH1S1();
		} // echo to h1s1
		// 2026-08-19 rev C bring-up: loopback probe expected by the app's
		// FirmwareLoader preflight before S_SCAN/S_FLASH (loadfw).
		else if (myRXstring[0] == '?') {
			UART1_Write_Text("\n// MH1 UART1 loopback OK\n");
		}; // host loopback probe
	}

	//*/
	HAL_TIM_PWM_Start(&htim16, TIM_CHANNEL_1);
	HAL_TIM_Base_Start_IT(&htim3);

	StartAllSlaves();

	// tx resuming normal operation message
	//UART1_Write_Text("\n// resuming normal operation\n");
	//HAL_UART_Transmit(&huart1, "\n// resuming normal operation\n", 30, 100);
	UART1_Write_Text("\n// resuming normal operation\n");
	UART1_Write_Text("\n// debug only\n");
	// tx P_MAIN
	//HAL_UART_Transmit(&huart1, P_MAIN, 1, 10); // \n?

	// enable UART interrupts
	UART1_Read();
	UART2_Read();
	__HAL_UART_ENABLE_IT(&huart1, UART_IT_RXNE);
	__HAL_UART_ENABLE_IT(&huart2, UART_IT_RXNE);

	/* USER CODE END 2 */

	/* Infinite loop */
	while (1) {

		/* USER CODE BEGIN 3 */
		//while (!BUSY_Pin) {
		WaitForNotBusy();
		Blink(); // send blink sync signal to all system mcu and host
		WaitForNotBusy();
		CheckS(); // check S mcu for new data
		WaitForNotBusy();
		CheckHost(); // check Host for new data
		WaitForNotBusy();
		CheckDebug();
		WaitForNotBusy();
		if (matrixFill)
			MatrixFill();
	}
	/* USER CODE END 3 */
}

void SystemClock_Config(void) {
	RCC_OscInitTypeDef RCC_OscInitStruct = { 0 };
	RCC_ClkInitTypeDef RCC_ClkInitStruct = { 0 };
	RCC_PeriphCLKInitTypeDef PeriphClkInit = { 0 };

	/** Configure the main internal regulator output voltage
	 */
	HAL_PWREx_ControlVoltageScaling(PWR_REGULATOR_VOLTAGE_SCALE1);
	/** Initializes the RCC Oscillators according to the specified parameters
	 * in the RCC_OscInitTypeDef structure.
	 */
	RCC_OscInitStruct.OscillatorType = RCC_OSCILLATORTYPE_HSI;
	RCC_OscInitStruct.HSIState = RCC_HSI_ON;
	RCC_OscInitStruct.HSIDiv = RCC_HSI_DIV1;
	RCC_OscInitStruct.HSICalibrationValue = RCC_HSICALIBRATION_DEFAULT;
	RCC_OscInitStruct.PLL.PLLState = RCC_PLL_ON;
	RCC_OscInitStruct.PLL.PLLSource = RCC_PLLSOURCE_HSI;
	RCC_OscInitStruct.PLL.PLLM = RCC_PLLM_DIV1;
	RCC_OscInitStruct.PLL.PLLN = 8;
	RCC_OscInitStruct.PLL.PLLP = RCC_PLLP_DIV2;
	RCC_OscInitStruct.PLL.PLLQ = RCC_PLLQ_DIV2;
	RCC_OscInitStruct.PLL.PLLR = RCC_PLLR_DIV2;
	if (HAL_RCC_OscConfig(&RCC_OscInitStruct) != HAL_OK) {
		Error_Handler();
	}
	/** Initializes the CPU, AHB and APB buses clocks
	 */
	RCC_ClkInitStruct.ClockType = RCC_CLOCKTYPE_HCLK | RCC_CLOCKTYPE_SYSCLK
			| RCC_CLOCKTYPE_PCLK1;
	RCC_ClkInitStruct.SYSCLKSource = RCC_SYSCLKSOURCE_PLLCLK;
	RCC_ClkInitStruct.AHBCLKDivider = RCC_SYSCLK_DIV1;
	RCC_ClkInitStruct.APB1CLKDivider = RCC_HCLK_DIV1;

	if (HAL_RCC_ClockConfig(&RCC_ClkInitStruct, FLASH_LATENCY_2) != HAL_OK) {
		Error_Handler();
	}
	/** Initializes the peripherals clocks
	 */
	PeriphClkInit.PeriphClockSelection = RCC_PERIPHCLK_USART1;
	PeriphClkInit.Usart1ClockSelection = RCC_USART1CLKSOURCE_PCLK1;
	if (HAL_RCCEx_PeriphCLKConfig(&PeriphClkInit) != HAL_OK) {
		Error_Handler();
	}
}

static void MX_TIM3_Init(void) {

	TIM_ClockConfigTypeDef sClockSourceConfig = { 0 };
	TIM_MasterConfigTypeDef sMasterConfig = { 0 };

	htim3.Instance = TIM3;
	htim3.Init.Prescaler = 61;
	htim3.Init.CounterMode = TIM_COUNTERMODE_UP;
	htim3.Init.Period = 65535;
	htim3.Init.ClockDivision = TIM_CLOCKDIVISION_DIV1;
	htim3.Init.AutoReloadPreload = TIM_AUTORELOAD_PRELOAD_ENABLE;
	if (HAL_TIM_Base_Init(&htim3) != HAL_OK) {
		Error_Handler();
	}
	sClockSourceConfig.ClockSource = TIM_CLOCKSOURCE_INTERNAL;
	if (HAL_TIM_ConfigClockSource(&htim3, &sClockSourceConfig) != HAL_OK) {
		Error_Handler();
	}
	sMasterConfig.MasterOutputTrigger = TIM_TRGO_RESET;
	sMasterConfig.MasterSlaveMode = TIM_MASTERSLAVEMODE_DISABLE;
	if (HAL_TIMEx_MasterConfigSynchronization(&htim3, &sMasterConfig)
			!= HAL_OK) {
		Error_Handler();
	}

}

static void MX_TIM16_Init(void) {

	TIM_OC_InitTypeDef sConfigOC = { 0 };
	TIM_BreakDeadTimeConfigTypeDef sBreakDeadTimeConfig = { 0 };

	htim16.Instance = TIM16;
	htim16.Init.Prescaler = 0;
	htim16.Init.CounterMode = TIM_COUNTERMODE_UP;
	htim16.Init.Period = 2560;
	htim16.Init.ClockDivision = TIM_CLOCKDIVISION_DIV1;
	htim16.Init.RepetitionCounter = 0;
	htim16.Init.AutoReloadPreload = TIM_AUTORELOAD_PRELOAD_ENABLE;
	if (HAL_TIM_Base_Init(&htim16) != HAL_OK) {
		Error_Handler();
	}
	if (HAL_TIM_PWM_Init(&htim16) != HAL_OK) {
		Error_Handler();
	}
	sConfigOC.OCMode = TIM_OCMODE_PWM1;
	sConfigOC.Pulse = 204; // boot at DIM[16] (8.0 %) until the host restores its saved level (was 25 = 1 %)
	sConfigOC.OCPolarity = TIM_OCPOLARITY_HIGH;
	sConfigOC.OCNPolarity = TIM_OCNPOLARITY_HIGH;
	sConfigOC.OCFastMode = TIM_OCFAST_DISABLE;
	sConfigOC.OCIdleState = TIM_OCIDLESTATE_RESET;
	sConfigOC.OCNIdleState = TIM_OCNIDLESTATE_RESET;
	if (HAL_TIM_PWM_ConfigChannel(&htim16, &sConfigOC, TIM_CHANNEL_1)
			!= HAL_OK) {
		Error_Handler();
	}
	sBreakDeadTimeConfig.OffStateRunMode = TIM_OSSR_DISABLE;
	sBreakDeadTimeConfig.OffStateIDLEMode = TIM_OSSI_DISABLE;
	sBreakDeadTimeConfig.LockLevel = TIM_LOCKLEVEL_OFF;
	sBreakDeadTimeConfig.DeadTime = 0;
	sBreakDeadTimeConfig.BreakState = TIM_BREAK_DISABLE;
	sBreakDeadTimeConfig.BreakPolarity = TIM_BREAKPOLARITY_HIGH;
	sBreakDeadTimeConfig.BreakFilter = 0;
	sBreakDeadTimeConfig.AutomaticOutput = TIM_AUTOMATICOUTPUT_DISABLE;
	if (HAL_TIMEx_ConfigBreakDeadTime(&htim16, &sBreakDeadTimeConfig)
			!= HAL_OK) {
		Error_Handler();
	}
	HAL_TIM_MspPostInit(&htim16);

}

static void MX_USART1_UART_Init(void) {

	huart1.Instance = USART1;
	huart1.Init.BaudRate = 115200;
	huart1.Init.WordLength = UART_WORDLENGTH_8B;
	huart1.Init.StopBits = UART_STOPBITS_1;
	huart1.Init.Parity = UART_PARITY_NONE;
	huart1.Init.Mode = UART_MODE_TX_RX;
	huart1.Init.HwFlowCtl = UART_HWCONTROL_NONE;
	huart1.Init.OverSampling = UART_OVERSAMPLING_16;
	huart1.Init.OneBitSampling = UART_ONE_BIT_SAMPLE_DISABLE;
	huart1.Init.ClockPrescaler = UART_PRESCALER_DIV1;
	huart1.AdvancedInit.AdvFeatureInit = UART_ADVFEATURE_NO_INIT;
	if (HAL_UART_Init(&huart1) != HAL_OK) {
		Error_Handler();
	}
	if (HAL_UARTEx_SetTxFifoThreshold(&huart1, UART_TXFIFO_THRESHOLD_1_8)
			!= HAL_OK) {
		Error_Handler();
	}
	if (HAL_UARTEx_SetRxFifoThreshold(&huart1, UART_RXFIFO_THRESHOLD_1_8)
			!= HAL_OK) {
		Error_Handler();
	}
	if (HAL_UARTEx_EnableFifoMode(&huart1) != HAL_OK) {
		Error_Handler();
	}

}

static void MX_USART2_UART_Init(void) {

	huart2.Instance = USART2;
	huart2.Init.BaudRate = 115200;
	huart2.Init.WordLength = UART_WORDLENGTH_8B;
	huart2.Init.StopBits = UART_STOPBITS_1;
	huart2.Init.Parity = UART_PARITY_NONE;
	huart2.Init.Mode = UART_MODE_TX_RX;
	huart2.Init.HwFlowCtl = UART_HWCONTROL_NONE;
	huart2.Init.OverSampling = UART_OVERSAMPLING_16;
	huart2.Init.OneBitSampling = UART_ONE_BIT_SAMPLE_DISABLE;
	huart2.Init.ClockPrescaler = UART_PRESCALER_DIV1;
	huart2.AdvancedInit.AdvFeatureInit = UART_ADVFEATURE_NO_INIT;
	if (HAL_UART_Init(&huart2) != HAL_OK) {
		Error_Handler();
	}

}

static void MX_GPIO_Init(void) {
	GPIO_InitTypeDef GPIO_InitStruct = { 0 };

	/* GPIO Ports Clock Enable */
	__HAL_RCC_GPIOC_CLK_ENABLE();
	__HAL_RCC_GPIOF_CLK_ENABLE();
	__HAL_RCC_GPIOA_CLK_ENABLE();
	__HAL_RCC_GPIOB_CLK_ENABLE();
	__HAL_RCC_GPIOD_CLK_ENABLE();

	/*Configure GPIO pin Output Level */
	HAL_GPIO_WritePin(GPIOC, S0_Pin | S20_Pin, GPIO_PIN_SET);

	/*Configure GPIO pin Output Level */
	HAL_GPIO_WritePin(GPIOC, S1_Pin | S21_Pin, GPIO_PIN_RESET);

	/*Configure GPIO pin Output Level */
	HAL_GPIO_WritePin(S3_GPIO_Port, S3_Pin, GPIO_PIN_RESET);

	/*Configure GPIO pin Output Level */
	HAL_GPIO_WritePin(GPIOA, S4_Pin | S8_Pin | S24_Pin, GPIO_PIN_SET);

	/*Configure GPIO pin Output Level */
	HAL_GPIO_WritePin(GPIOA, S5_Pin | S7_Pin | S9_Pin | S19_Pin | S23_Pin,
			GPIO_PIN_RESET);

	/*Configure GPIO pin Output Level */
	HAL_GPIO_WritePin(GPIOB,
	S11_Pin | S13_Pin | S15_Pin | S17_Pin | S29_Pin | S31_Pin, GPIO_PIN_RESET);

	/*Configure GPIO pin Output Level */
	HAL_GPIO_WritePin(GPIOB, S12_Pin | S16_Pin | S2S_Pin | BLINK_Pin,
			GPIO_PIN_SET);

	/*Configure GPIO pin Output Level */
	HAL_GPIO_WritePin(GPIOD, S25_Pin | S27_Pin, GPIO_PIN_RESET);

	/*Configure GPIO pin Output Level */
	HAL_GPIO_WritePin(S28_GPIO_Port, S28_Pin, GPIO_PIN_SET);

	/*Configure GPIO pin : BUSY_Pin */
	GPIO_InitStruct.Pin = BUSY_Pin;
	GPIO_InitStruct.Mode = GPIO_MODE_INPUT;
	GPIO_InitStruct.Pull = GPIO_PULLUP;
	HAL_GPIO_Init(BUSY_GPIO_Port, &GPIO_InitStruct);

	/*Configure GPIO pins : S0_Pin S1_Pin S20_Pin S21_Pin */
	GPIO_InitStruct.Pin = S0_Pin | S1_Pin | S20_Pin | S21_Pin;
	GPIO_InitStruct.Mode = GPIO_MODE_OUTPUT_PP;
	GPIO_InitStruct.Pull = GPIO_NOPULL;
	GPIO_InitStruct.Speed = GPIO_SPEED_FREQ_LOW;
	HAL_GPIO_Init(GPIOC, &GPIO_InitStruct);

	/*Configure GPIO pin : S2_Pin */
	GPIO_InitStruct.Pin = S2_Pin;
	GPIO_InitStruct.Mode = GPIO_MODE_INPUT;
	GPIO_InitStruct.Pull = GPIO_PULLUP;
	HAL_GPIO_Init(S2_GPIO_Port, &GPIO_InitStruct);

	/*Configure GPIO pin : S3_Pin */
	GPIO_InitStruct.Pin = S3_Pin;
	GPIO_InitStruct.Mode = GPIO_MODE_OUTPUT_PP;
	GPIO_InitStruct.Pull = GPIO_NOPULL;
	GPIO_InitStruct.Speed = GPIO_SPEED_FREQ_LOW;
	HAL_GPIO_Init(S3_GPIO_Port, &GPIO_InitStruct);

	/*Configure GPIO pins : S4_Pin S5_Pin S7_Pin S8_Pin
	 S9_Pin S19_Pin S23_Pin S24_Pin */
	GPIO_InitStruct.Pin = S4_Pin | S5_Pin | S7_Pin | S8_Pin | S9_Pin | S19_Pin
			| S23_Pin | S24_Pin;
	GPIO_InitStruct.Mode = GPIO_MODE_OUTPUT_PP;
	GPIO_InitStruct.Pull = GPIO_NOPULL;
	GPIO_InitStruct.Speed = GPIO_SPEED_FREQ_LOW;
	HAL_GPIO_Init(GPIOA, &GPIO_InitStruct);

	/*Configure GPIO pins : S6_Pin S22_Pin */
	GPIO_InitStruct.Pin = S6_Pin | S22_Pin;
	GPIO_InitStruct.Mode = GPIO_MODE_INPUT;
	GPIO_InitStruct.Pull = GPIO_PULLUP;
	HAL_GPIO_Init(GPIOA, &GPIO_InitStruct);

	/*Configure GPIO pins : S10_Pin S14_Pin S18_Pin S30_Pin */
	GPIO_InitStruct.Pin = S10_Pin | S14_Pin | S18_Pin | S30_Pin;
	GPIO_InitStruct.Mode = GPIO_MODE_INPUT;
	GPIO_InitStruct.Pull = GPIO_PULLUP;
	HAL_GPIO_Init(GPIOB, &GPIO_InitStruct);

	/*Configure GPIO pins : S11_Pin S12_Pin S13_Pin S15_Pin
	 S16_Pin S17_Pin S29_Pin S31_Pin
	 S2S_Pin BLINK_Pin */
	GPIO_InitStruct.Pin = S11_Pin | S12_Pin | S13_Pin | S15_Pin | S16_Pin
			| S17_Pin | S29_Pin | S31_Pin | S2S_Pin | BLINK_Pin;
	GPIO_InitStruct.Mode = GPIO_MODE_OUTPUT_PP;
	GPIO_InitStruct.Pull = GPIO_NOPULL;
	GPIO_InitStruct.Speed = GPIO_SPEED_FREQ_LOW;
	HAL_GPIO_Init(GPIOB, &GPIO_InitStruct);

	/*Configure GPIO pins : S25_Pin S27_Pin S28_Pin */
	GPIO_InitStruct.Pin = S25_Pin | S27_Pin | S28_Pin;
	GPIO_InitStruct.Mode = GPIO_MODE_OUTPUT_PP;
	GPIO_InitStruct.Pull = GPIO_NOPULL;
	GPIO_InitStruct.Speed = GPIO_SPEED_FREQ_LOW;
	HAL_GPIO_Init(GPIOD, &GPIO_InitStruct);

	/*Configure GPIO pin : S26_Pin */
	GPIO_InitStruct.Pin = S26_Pin;
	GPIO_InitStruct.Mode = GPIO_MODE_INPUT;
	GPIO_InitStruct.Pull = GPIO_PULLUP;
	HAL_GPIO_Init(S26_GPIO_Port, &GPIO_InitStruct);

}

void Error_Handler(void) {
	__disable_irq();
	while (1) {
	}
}

/************************ (C) COPYRIGHT STMicroelectronics *****END OF FILE****/
